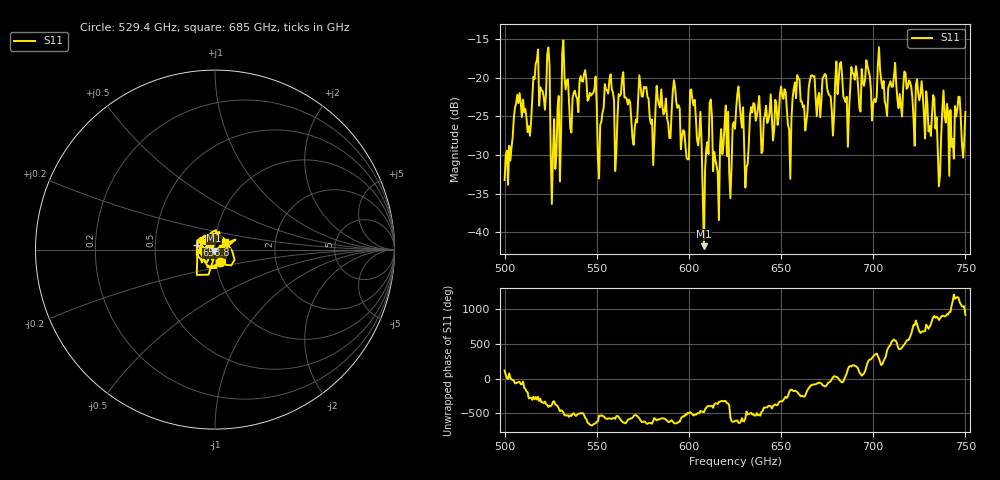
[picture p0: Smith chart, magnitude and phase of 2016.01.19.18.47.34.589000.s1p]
!Created with skrf (http://scikit-rf.org).
# GHz S RI R 50.0
!freq ReS11 ImS11
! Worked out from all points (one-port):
!   401 points, 500 GHz to 750 GHz, reference 50 ohm
!   lowest |S11| = -41.8 dB at 608.1 GHz (marker M1), VSWR 1.02, Z = 49.5 - j0.652 ohm
!   |S11| at or under -10 dB: start of sweep to end of sweep
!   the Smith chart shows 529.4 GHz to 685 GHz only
!   S11 on the Smith chart (normalised r, x): 529.4 GHz: 1.05, -0.15; 658.8 GHz: 0.82, +0.04; 685 GHz: 1.11, +0.10
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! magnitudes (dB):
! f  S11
! 500 GHz  -33.2
! 506.9 GHz  -22.2
! 513.1 GHz  -26.3
! 516.9 GHz  -18.2
! 523.1 GHz  -17.1
! 526.2 GHz  -29.8
! 529.4 GHz  -22.4
! 531.2 GHz  -16.8
! 543.1 GHz  -19.5
! 551.9 GHz  -26.1
! 562.5 GHz  -22.4
! 593.8 GHz  -23.9
! 598.8 GHz  -30.4
! 601.9 GHz  -22.8
! 608.1 GHz  -41.8
! 611.2 GHz  -23.3
! 615 GHz  -31.4
! 625 GHz  -26.6
! 631.2 GHz  -31.5
! 634.4 GHz  -24.5
! 656.2 GHz  -22.7
! 658.8 GHz  -19.7
! 685 GHz  -23.2
! 687.5 GHz  -21.3
! 718.8 GHz  -21.3
! 735.6 GHz  -34.0
! 738.8 GHz  -25.0
! 750 GHz  -24.4
